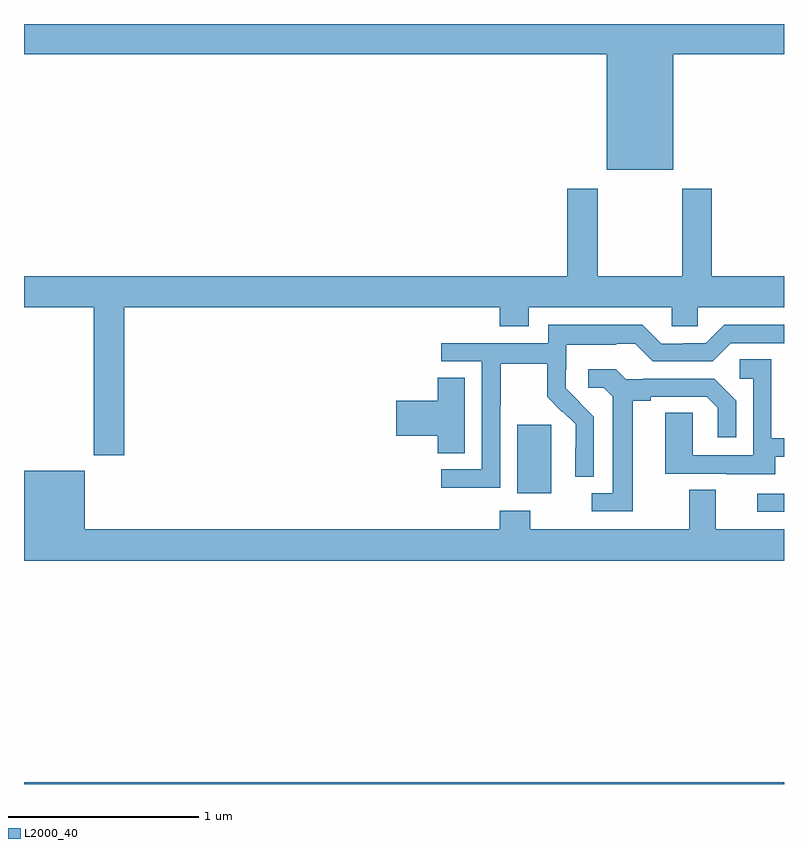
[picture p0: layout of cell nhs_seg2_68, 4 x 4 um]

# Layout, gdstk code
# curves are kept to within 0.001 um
import gdstk
lib = gdstk.Library(unit=1e-6, precision=1e-09)
def R(c, l, rs):  # rectangles x0, y0, x1, y1
    for r in rs: c.add(gdstk.rectangle(r[:2], r[2:], *l))
def P(c, l, *ps):  # polygons
    for p in ps: c.add(gdstk.Polygon(p, *l))
L2000_40 = (2000, 40)

nhs_seg2_68 = lib.new_cell('nhs_seg2_68')
R(nhs_seg2_68, L2000_40, [(113,639.8,117,639.808), (116.859,641.232,117,641.328), (115.595,641.33,115.774,641.691)])
P(nhs_seg2_68, L2000_40, [(116.416,643.64),(117,643.64),(117,643.8),(113,643.8),(113,643.64),(116.066,643.64),(116.066,643.034),(116.416,643.034)],
  [(113.528,642.308),(115.505,642.308),(115.505,642.209),(115.657,642.209),(115.657,642.308),(116.409,642.308),(116.409,642.21),(116.547,642.21),(116.547,642.308),(117,642.308),(117,642.472),(116.619,642.472),(116.619,642.934),(116.464,642.934),(116.464,642.472),(116.019,642.472),(116.019,642.934),(115.859,642.934),(115.859,642.472),(113,642.472),(113,642.308),(113.368,642.308),(113.368,641.529),(113.528,641.529)],
  [(115.506,641.788),(115.509,641.788),(115.509,642.012),(115.753,642.012),(115.753,641.837),(115.83,641.76),(115.833,641.763),(115.904,641.693),(115.904,641.57),(115.902,641.57),(115.902,641.416),(115.998,641.416),(115.998,641.734),(115.852,641.882),(115.852,641.979),(115.854,641.979),(115.854,642.113),(116.117,642.113),(116.117,642.117),(116.217,642.117),(116.31,642.024),(116.625,642.024),(116.721,642.12),(117,642.12),(117,642.216),(116.685,642.216),(116.589,642.12),(116.471,642.12),(116.471,642.117),(116.355,642.117),(116.255,642.217),(115.758,642.217),(115.758,642.12),(115.197,642.12),(115.197,642.024),(115.41,642.024),(115.41,641.457),(115.197,641.457),(115.197,641.359),(115.506,641.359)],
  [(116.953,641.523),(117,641.523),(117,641.619),(116.934,641.619),(116.934,642.035),(116.766,642.035),(116.766,641.934),(116.838,641.934),(116.838,641.529),(116.52,641.529),(116.52,641.753),(116.375,641.753),(116.375,641.433),(116.699,641.433),(116.699,641.429),(116.953,641.429)],
  [(116.203,641.816),(116.299,641.816),(116.299,641.838),(116.594,641.838),(116.651,641.781),(116.651,641.625),(116.748,641.625),(116.748,641.818),(116.632,641.934),(116.26,641.934),(116.26,641.931),(116.166,641.931),(116.114,641.983),(115.971,641.983),(115.971,641.886),(116.052,641.886),(116.099,641.839),(116.099,641.331),(115.989,641.331),(115.989,641.235),(116.203,641.235)],
  [(115.321,641.939),(115.178,641.939),(115.178,641.816),(114.96,641.816),(114.96,641.633),(115.178,641.633),(115.178,641.542),(115.321,641.542)],
  [(117,641.14),(116.641,641.14),(116.641,641.348),(116.501,641.348),(116.501,641.14),(115.665,641.14),(115.665,641.239),(115.505,641.239),(115.505,641.14),(113.32,641.14),(113.32,641.449),(113,641.449),(113,640.976),(117,640.976)])

lib.write_gds('nhs_seg2_68.gds')
